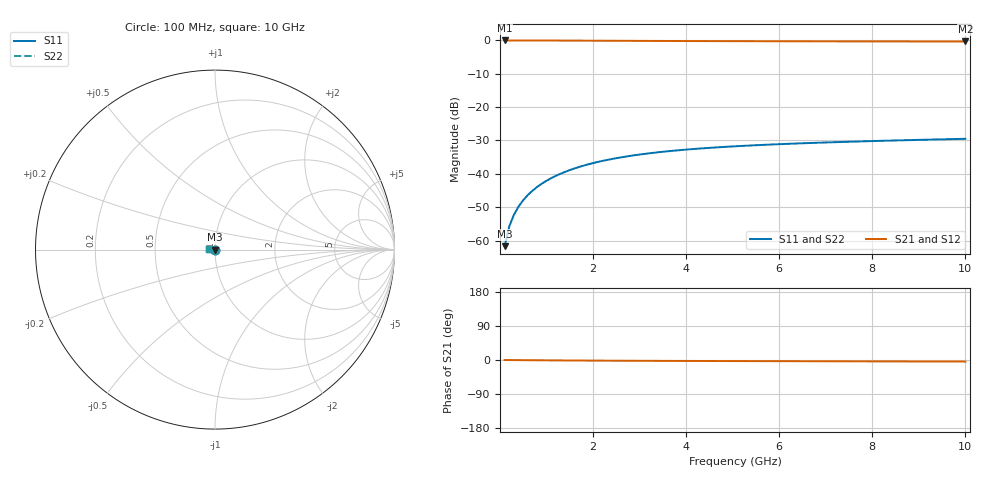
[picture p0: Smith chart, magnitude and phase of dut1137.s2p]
! Touchstone file exported from HFSS 2024.1.0
!  File:  C:/UserFiles/LocalFiles/RDL_TSV_Batchsim/temp_TSV1_1137_1780070569.aedt
!  Generated:  12:08:25 AM May 30, 2026
!  Design:  TSV1
!  Project:  temp_TSV1_1137_1780070569
!  Setup:  Setup1
!  Solution:  Sweep
! Variables:
!  dtsv = 8.1um
!  hbump = 3um
!  htsv = 63.1um
!  lrdl = 252.1521522um
!  p = 40
!  p1 = 44.47um
!  t = 500um
!  trdl = 3um
!  wrdl = 24.89489489um
# GHz S MA R 50.000000
! Terminal data exported
! Port[1] = TSV22_T1
! Port[2] = TSV22_T2
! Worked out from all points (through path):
!   100 points, 100 MHz to 10 GHz, reference 50 ohm
!   highest |S21| = 0.00 dB at 100 MHz (marker M1); lowest = -0.3 dB at 10 GHz (marker M2)
!   lowest |S11| = -61.7 dB at 100 MHz (marker M3), VSWR 1.00, Z = 50 - j0.0806 ohm
!   |S11| at or under -10 dB: start of sweep to end of sweep
!   |S22| runs from -61.7 to -29.5 dB; largest |S21 - S12| = 9.2e-15
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0.1  0.0008233 -78.2  0.9998 -0.1  0.9998 -0.1  0.0008233 -78.2
! Gamma 0 0 0 0
! Port Impedance 50 0 50 0
0.2  0.001627 -86.5  0.9997 -0.2  0.9997 -0.2  0.001627 -86.5
0.3  0.002433 -90.6  0.9995 -0.3  0.9995 -0.3  0.002433 -90.6
0.4  0.003235 -93.5  0.9994 -0.4  0.9994 -0.4  0.003235 -93.5
0.5  0.004032 -96.0  0.9991 -0.5  0.9991 -0.5  0.004032 -96.0
0.6  0.00482 -98.2  0.9989 -0.5  0.9989 -0.5  0.00482 -98.2
0.7  0.0056 -100.3  0.9985 -0.6  0.9985 -0.6  0.0056 -100.3
0.8  0.00637 -102.2  0.9982 -0.7  0.9982 -0.7  0.00637 -102.2
0.9  0.007128 -104.1  0.9978 -0.8  0.9978 -0.8  0.007128 -104.1
1.1  0.008606 -107.8  0.9969 -1.0  0.9969 -1.0  0.008606 -107.8
1.4  0.01071 -112.9  0.9953 -1.2  0.9953 -1.2  0.01071 -112.9
1.6  0.01204 -116.2  0.9942 -1.3  0.9942 -1.3  0.01204 -116.2
1.8  0.0133 -119.3  0.9929 -1.5  0.9929 -1.5  0.0133 -119.3
2.1  0.01506 -123.8  0.9911 -1.6  0.9911 -1.6  0.01506 -123.8
2.5  0.01718 -129.4  0.9885 -1.9  0.9885 -1.9  0.01718 -129.4
2.9  0.01904 -134.5  0.986 -2.1  0.986 -2.1  0.01904 -134.5
3.4  0.02105 -140.4  0.9831 -2.3  0.9831 -2.3  0.02105 -140.4
4.2  0.02368 -148.7  0.979 -2.6  0.979 -2.6  0.02368 -148.7
5.1  0.02599 -156.7  0.9752 -2.8  0.9752 -2.8  0.02599 -156.7
6.7  0.02906 -168.3  0.9703 -3.3  0.9703 -3.3  0.02906 -168.3
8.4  0.03153 -178.2  0.9668 -3.7  0.9668 -3.7  0.03153 -178.2
10  0.03353 174.0  0.9645 -4.2  0.9645 -4.2  0.03353 174.0
